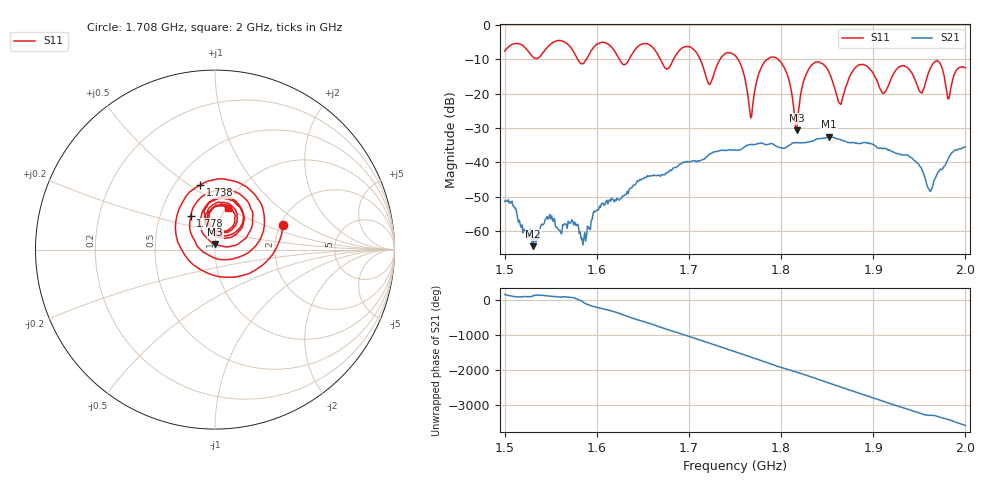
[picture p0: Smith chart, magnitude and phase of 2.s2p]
! NanoVNA-App by SYSJOINT et al v1.1.209 (+OD18)
! Date: 2026-01-21 14:28:28
! Start: 1,5GHz Stop: 2GHz Points: 501
! S-Parameter data: F S11 S21 S12 S22
# Hz S RI R 50
!  Frequency  S11_Real  S11_Imag  S21_Real  S21_Imag  S12_Real  S12_Imag  S22_Real  S22_Imag
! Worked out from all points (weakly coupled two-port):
!   501 points, 1.5 GHz to 2 GHz, reference 50 ohm
!   highest |S21| = -32.50 dB at 1.852 GHz (marker M1); lowest = -64.5 dB at 1.531 GHz (marker M2)
!   lowest |S11| = -30.7 dB at 1.817 GHz (marker M3), VSWR 1.06, Z = 50 + j2.92 ohm
!   |S11| at or under -10 dB: 1.712 GHz to 1.734 GHz (21.52 MHz wide, 1.25 % of centre); 1.753 GHz to 1.785 GHz (31.38 MHz wide, 1.77 % of centre); 1.797 GHz to end of sweep (the widest 3 of 6)
!   S12 and S22 are empty: the file has one direction only
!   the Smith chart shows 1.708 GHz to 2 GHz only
!   S11 on the Smith chart (normalised r, x): 1.708 GHz: 2.07, +0.67; 1.738 GHz: 0.66, +0.55; 1.778 GHz: 0.71, +0.28; 2 GHz: 1.03, +0.50
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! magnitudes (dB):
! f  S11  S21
! 1.5 GHz  -7.6  -51.4
! 1.531 GHz  -9.3  -64.5
! 1.547 GHz  -6.3  -56.6
! 1.584 GHz  -11.2  -62.2
! 1.667 GHz  -8.9  -43.7
! 1.708 GHz  -7.9  -39.9
! 1.722 GHz  -17.3  -37.6
! 1.738 GHz  -8.6  -36.6
! 1.75 GHz  -8.8  -36.5
! 1.767 GHz  -27.0  -34.8
! 1.778 GHz  -12.7  -34.4
! 1.801 GHz  -11.3  -35.8
! 1.817 GHz  -30.7  -34.3
! 1.834 GHz  -11.4  -33.8
! 1.852 GHz  -13.7  -32.5
! 1.864 GHz  -22.9  -33.4
! 1.885 GHz  -11.5  -34.6
! 1.917 GHz  -17.2  -36.3
! 1.952 GHz  -19.7  -41.5
! 1.962 GHz  -12.6  -48.6
! 1.982 GHz  -21.5  -38.5
! 2 GHz  -12.4  -35.5
